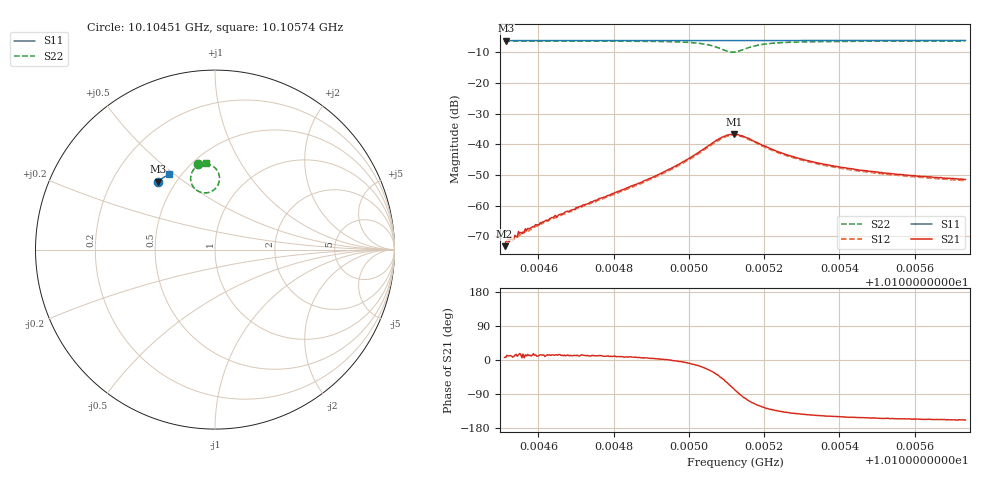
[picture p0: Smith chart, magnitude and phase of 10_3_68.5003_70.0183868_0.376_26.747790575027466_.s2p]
#  HZ  S  RI  R  50.00
! Rohde & Schwarz Vector Network Analyzer
! Rohde-Schwarz,ZNB20-2Port,1311601062101988,3.16
! Created: UTC 3/20/2024, 4:48:59 PM
! freq[Hz]  re:S11  im:S11  re:S21  im:S21  re:S12  im:S12  re:S22  im:S22
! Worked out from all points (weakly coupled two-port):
!   401 points, 10.10451 GHz to 10.10574 GHz, reference 50 ohm
!   highest |S21| = -36.69 dB at 10.10512 GHz (marker M1); lowest = -73.2 dB at 10.10451 GHz (marker M2)
!   lowest |S11| = -6.2 dB at 10.10451 GHz (marker M3), VSWR 2.94, Z = 20.2 + j20.2 ohm
!   |S11| at or under -10 dB: nowhere
!   |S22| runs from -9.9 to -6.3 dB; largest |S21 - S12| = 0.0016
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1.010451e10  -0.3162 0.3779  0.000217 2.64e-05  0.00023 5.07e-05  -0.0967 0.4755
1.0104513e10  -0.316 0.3779  0.000255 3.06e-05  0.00022 6.01e-05  -0.0964 0.4755
1.0104538e10  -0.315 0.3789  0.00032 7.44e-05  0.000307 8.84e-05  -0.0941 0.4759
1.0104544e10  -0.3147 0.3793  0.000304 5.2e-05  0.000296 9.54e-05  -0.0936 0.476
1.0104571e10  -0.3135 0.3803  0.000411 0.000108  0.000394 0.000119  -0.091 0.4766
1.0104626e10  -0.3109 0.3827  0.000555 0.000127  0.000543 0.00018  -0.0855 0.4776
1.0104715e10  -0.3067 0.3863  0.000953 0.000234  0.000913 0.000276  -0.0754 0.4788
1.0104847e10  -0.3005 0.3915  0.00208 0.000288  0.00194 0.000445  -0.055 0.479
1.010492e10  -0.297 0.3944  0.00324 0.000144  0.00309 0.00044  -0.0372 0.4761
1.0104994e10  -0.2933 0.3971  0.00555 -0.000701  0.00537 -0.00018  -0.0088 0.4628
1.0105037e10  -0.291 0.3987  0.00777 -0.00271  0.00762 -0.00182  0.0147 0.4369
1.0105067e10  -0.2894 0.3995  0.00913 -0.00612  0.00929 -0.00498  0.0254 0.3959
1.0105095e10  -0.288 0.4003  0.00793 -0.011  0.00865 -0.00981  0.00468 0.3426
1.0105119e10  -0.2873 0.4008  0.00337 -0.0142  0.00454 -0.0134  -0.0524 0.3159
1.0105123e10  -0.2872 0.401  0.00276 -0.0143  0.00389 -0.0136  -0.0603 0.3159
1.010515e10  -0.2863 0.402  -0.00255 -0.0129  -0.00138 -0.0127  -0.1168 0.3442
1.0105178e10  -0.2853 0.4032  -0.0049 -0.00975  -0.00399 -0.0099  -0.1349 0.3848
1.0105242e10  -0.2821 0.4059  -0.00528 -0.00522  -0.00466 -0.00541  -0.1244 0.4378
1.0105328e10  -0.278 0.4092  -0.00429 -0.00299  -0.00387 -0.00321  -0.1031 0.4615
1.0105417e10  -0.2736 0.4123  -0.0036 -0.00205  -0.00328 -0.00224  -0.0876 0.4712
1.0105533e10  -0.2679 0.4165  -0.00304 -0.00144  -0.00277 -0.00163  -0.0726 0.4774
1.0105735e10  -0.2576 0.4234  -0.00248 -0.000987  -0.00232 -0.00115  -0.0527 0.4828
